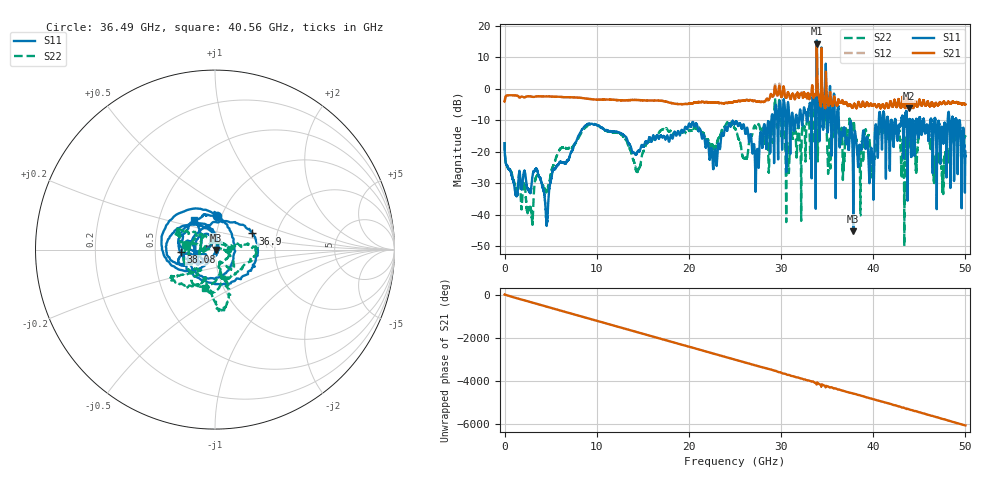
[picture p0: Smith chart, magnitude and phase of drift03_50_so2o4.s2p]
!Created with skrf (http://scikit-rf.org).
# Hz S RI R 50.0
!freq ReS11 ImS11 ReS21 ImS21 ReS12 ImS12 ReS22 ImS22
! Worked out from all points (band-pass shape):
!   10001 points, 300 kHz to 50 GHz, reference 50 ohm
!   highest |S21| = 14.35 dB at 33.88 GHz (marker M1); lowest = -6.2 dB at 43.92 GHz (marker M2)
!   |S21| within 3 dB of the highest: 33.86905 GHz to 33.88853 GHz (19.48 MHz wide, 0.0575 % of centre); 34.3769 GHz to 34.38986 GHz (12.96 MHz wide, 0.0377 % of centre)
!   lowest |S11| = -45.2 dB at 37.84 GHz (marker M3), VSWR 1.01, Z = 50.5 - j0.203 ohm
!   |S11| at or under -10 dB: start of sweep to 28.94 GHz; 36.27 GHz to 40.6 GHz (4.339 GHz wide, 11.3 % of centre); 46.75 GHz to 48.08 GHz (1.334 GHz wide, 2.81 % of centre) (the widest 3 of 61)
!   |S22| runs from -49.9 to 11.3 dB; largest |S21 - S12| = 0.83
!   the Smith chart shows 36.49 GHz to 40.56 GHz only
!   S11 on the Smith chart (normalised r, x): 36.49 GHz: 0.95, +0.37; 36.9 GHz: 1.49, +0.28; 38.08 GHz: 0.68, -0.02; 40.56 GHz: 0.76, +0.26
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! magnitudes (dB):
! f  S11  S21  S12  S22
! 300 kHz  -17.2  -4.0  -4.0  -16.9
! 2.82 GHz  -32.8  -2.4  -2.4  -38.0
! 4.555 GHz  -43.5  -2.3  -2.3  -32.2
! 8.335 GHz  -13.1  -2.8  -2.8  -13.9
! 14.44 GHz  -19.9  -3.5  -3.5  -26.1
! 16.67 GHz  -15.4  -3.7  -3.7  -14.3
! 22.82 GHz  -19.3  -4.3  -4.3  -19.1
! 25 GHz  -11.0  -4.0  -4.0  -12.5
! 27.39 GHz  -19.4  -4.1  -4.1  -12.3
! 29.6 GHz  -10.4  -2.0  -2.1  -11.7
! 30.7 GHz  -5.5  -1.4  -1.4  -17.1
! 33.34 GHz  -14.0  -0.5  -0.5  -7.1
! 33.88 GHz  15.3  14.4  14.0  10.9
! 36.49 GHz  -14.6  -4.4  -4.3  -15.7
! 36.9 GHz  -12.9  -4.5  -4.5  -19.6
! 37.84 GHz  -45.2  -5.5  -5.5  -11.0
! 38.08 GHz  -14.3  -5.5  -5.5  -17.1
! 40.56 GHz  -14.0  -4.9  -5.0  -13.2
! 41.67 GHz  -12.1  -6.0  -5.9  -15.1
! 43.92 GHz  -10.2  -6.2  -6.0  -16.6
! 47.57 GHz  -15.9  -4.4  -4.3  -31.1
! 50 GHz  -19.9  -4.9  -4.9  -15.1
